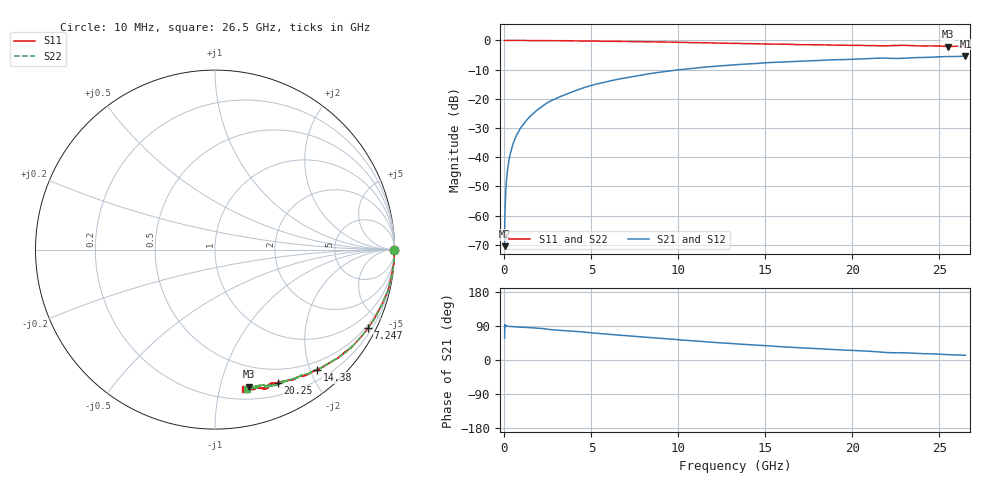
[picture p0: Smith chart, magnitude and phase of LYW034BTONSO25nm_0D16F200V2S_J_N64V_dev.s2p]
!Keysight Technologies,N5222B,MY61253708,A.15.00.15
!Date: Wednesday, June 19, 2024 09:15:46
!Correction: S11(C  2-Port  )
!S21(C  2-Port  )
!S12(C  2-Port  )
!S22(C  2-Port  )
!S2P File: Measurements: S11, S21, S12, S22:
# Hz S  RI  R 50
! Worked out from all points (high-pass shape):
!   2651 points, 10 MHz to 26.5 GHz, reference 50 ohm
!   highest |S21| = -5.35 dB at 26.5 GHz (marker M1); lowest = -70.5 dB at 10 MHz (marker M2)
!   |S21| within 3 dB of the highest: 13.23 GHz to end of sweep
!   lowest |S11| = -2.1 dB at 25.5 GHz (marker M3), VSWR 8.39, Z = 15.3 - j61.5 ohm
!   |S11| at or under -10 dB: nowhere
!   |S22| runs from -2.0 to 0.0 dB; largest |S21 - S12| = 0.0067
!   S11 on the Smith chart (normalised r, x): 10 MHz: open; 7.247 GHz: 0.38, -4.11; 14.38 GHz: 0.36, -2.11; 20.25 GHz: 0.33, -1.53; 26.5 GHz: 0.28, -1.20
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1e7  0.9986 -0.00237  0.000158 0.000254  -0.000135 0.000326  0.9984 -0.00125
6.997736e7  1 -0.00533  3.98e-07 0.00236  6.93e-06 0.00237  0.9996 -0.00494
1.599434e8  0.9998 -0.0118  7.99e-05 0.00547  5.59e-05 0.0055  0.9995 -0.011
1.999283e8  1 -0.0141  0.000105 0.00682  0.000109 0.00689  0.9996 -0.0134
2.599057e8  0.9995 -0.0183  0.00017 0.0089  0.00016 0.00896  0.9994 -0.0176
3.598679e8  0.9994 -0.0254  0.000331 0.0123  0.00027 0.0124  0.9992 -0.0247
4.898189e8  0.9987 -0.0341  0.000575 0.0167  0.000587 0.0168  0.9988 -0.0331
6.497585e8  0.9983 -0.0447  0.000998 0.0221  0.000967 0.0222  0.9983 -0.0437
8.396868e8  0.9977 -0.0574  0.00161 0.0284  0.00161 0.0286  0.9978 -0.0572
1.459453e9  0.99 -0.1006  0.00395 0.0496  0.00399 0.0499  0.9924 -0.097
2.339121e9  0.9804 -0.1558  0.0108 0.0802  0.011 0.0808  0.9815 -0.1564
3.148815e9  0.9687 -0.2086  0.0218 0.1049  0.022 0.1056  0.9696 -0.2081
4.428332e9  0.939 -0.2862  0.0408 0.145  0.0413 0.1459  0.9403 -0.2841
7.247268e9  0.853 -0.4373  0.1067 0.2123  0.1081 0.213  0.854 -0.4369
8.846664e9  0.7934 -0.5083  0.1514 0.2395  0.1531 0.2402  0.794 -0.5075
1.3255e10  0.6137 -0.6452  0.2808 0.2603  0.2832 0.2601  0.6161 -0.6445
1.438457e10  0.5699 -0.6695  0.3099 0.2555  0.3123 0.2557  0.5722 -0.6661
1.767333e10  0.44 -0.7203  0.3862 0.2291  0.3898 0.2274  0.4489 -0.7182
2.025236e10  0.3516 -0.7437  0.436 0.2  0.4393 0.1975  0.3658 -0.7425
2.209166e10  0.306 -0.7493  0.4667 0.1649  0.4686 0.162  0.2982 -0.7554
2.550038e10  0.188 -0.7643  0.514 0.1271  0.5157 0.1271  0.2069 -0.7674
2.65e10  0.1693 -0.7791  0.5273 0.1162  0.5267 0.1124  0.1808 -0.7774
